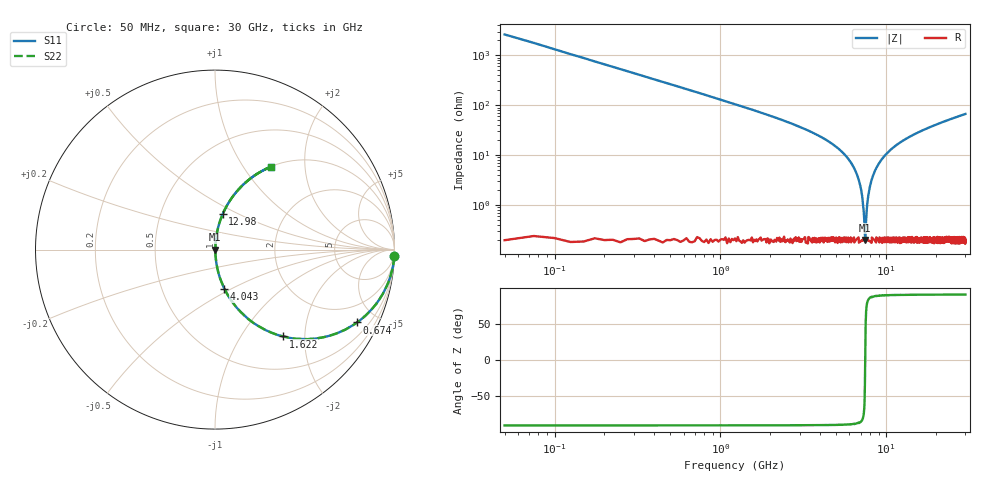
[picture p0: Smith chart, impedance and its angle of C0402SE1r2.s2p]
!	AVX Thin Film Operation 	Date: April 2014
!	Description: Accu-P® Series, Thin Film  SMD RF Capacitor
!	Part Number: 04021J1R2PBSTR
# MHZ S MA R 50
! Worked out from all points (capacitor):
!   1201 points, 50 MHz to 30 GHz, reference 50 ohm
!   read as one part in series: C = 1.2 pF near 199.8 MHz
!   lowest |Z| = 200 mohm at 7.463 GHz (marker M1)
!   series resonance near 7.463 GHz, so ESL is about 380 pH
!   S11 on the Smith chart (normalised r, x): 50 MHz: 1, -53; 674 MHz: 1.00, -3.91; 1.622 GHz: 1.00, -1.56; 4.043 GHz: 1.00, -0.46; 12.98 GHz: 1.00, +0.41; 30 GHz: 1.00, +1.34
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50  0.999 -2.2  0.038 87.8  0.038 87.8  0.999 -2.2
324.542  0.971 -13.8  0.238 76.2  0.238 76.2  0.971 -13.8
673.958  0.89 -27.1  0.456 62.8  0.456 62.8  0.89 -27.1
1622.375  0.614 -52.0  0.788 37.9  0.788 37.9  0.614 -52.0
2620.708  0.405 -65.9  0.913 23.9  0.913 23.9  0.405 -65.9
4043.333  0.225 -76.5  0.972 13.0  0.972 13.0  0.225 -76.5
5041.667  0.141 -81.1  0.988 8.1  0.988 8.1  0.141 -81.1
6064.958  0.074 -84.2  0.995 4.2  0.995 4.2  0.074 -84.2
6713.875  0.038 -84.8  0.997 2.2  0.997 2.2  0.038 -84.8
7088.25  0.018 -82.7  0.998 1.0  0.998 1.0  0.018 -82.7
7362.792  0.005192 -67.1  0.998 0.3  0.998 0.3  0.005192 -67.1
7462.625  0.001996 -0.4  0.998 0.0  0.998 0.0  0.001996 -0.4
7562.458  0.005106 66.7  0.998 -0.3  0.998 -0.3  0.005106 66.7
7837  0.017 82.4  0.998 -1.0  0.998 -1.0  0.017 82.4
8236.333  0.035 84.7  0.997 -2.0  0.997 -2.0  0.035 84.7
8960.125  0.065 84.5  0.996 -3.7  0.996 -3.7  0.065 84.5
10058.29  0.107 82.8  0.992 -6.1  0.992 -6.1  0.107 82.8
12978.42  0.202 77.8  0.977 -11.7  0.977 -11.7  0.202 77.8
15025  0.26 74.5  0.964 -15.1  0.964 -15.1  0.26 74.5
20016.67  0.379 67.4  0.924 -22.3  0.924 -22.3  0.379 67.4
25033.29  0.477 61.3  0.877 -28.5  0.877 -28.5  0.477 61.3
30000  0.556 56.1  0.83 -33.8  0.83 -33.8  0.556 56.1
